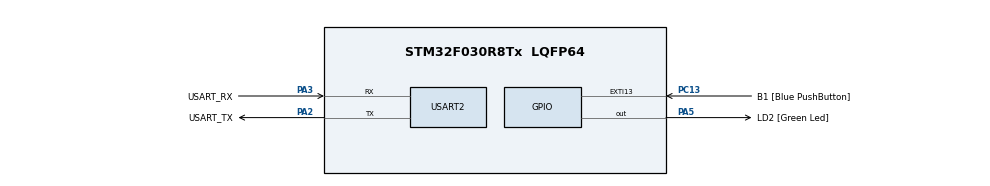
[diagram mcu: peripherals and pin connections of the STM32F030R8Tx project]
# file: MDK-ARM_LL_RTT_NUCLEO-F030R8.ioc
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Mcu.Family=STM32F0
Mcu.Name=STM32F030R8Tx
Mcu.Package=LQFP64
PA13.GPIO_Label=TMS
PA13.Mode=Serial_Wire
PA13.Signal=SYS_SWDIO
PA14.GPIO_Label=TCK
PA14.Mode=Serial_Wire
PA14.Signal=SYS_SWCLK
PA2.GPIO_Label=USART_TX
PA2.GPIO_Mode=GPIO_MODE_AF_PP
PA2.GPIO_PuPd=GPIO_NOPULL
PA2.GPIO_Speed=GPIO_SPEED_FREQ_LOW
PA2.Mode=Asynchronous
PA2.Signal=USART2_TX
PA3.GPIO_Label=USART_RX
PA3.GPIO_Mode=GPIO_MODE_AF_PP
PA3.GPIO_PuPd=GPIO_NOPULL
PA3.GPIO_Speed=GPIO_SPEED_FREQ_LOW
PA3.Mode=Asynchronous
PA3.Signal=USART2_RX
PA5.GPIO_Label=LD2 [Green Led]
PA5.GPIO_Mode=GPIO_MODE_OUTPUT_PP
PA5.GPIO_PuPd=GPIO_NOPULL
PA5.GPIO_Speed=GPIO_SPEED_FREQ_LOW
PA5.Signal=GPIO_Output
PC13.GPIO_Label=B1 [Blue PushButton]
PC13.GPIO_ModeDefaultEXTI=GPIO_MODE_IT_FALLING
PC13.Signal=GPXTI13
PC14-OSC32_IN.Mode=LSE-External-Oscillator
PC14-OSC32_IN.Signal=RCC_OSC32_IN
PC15-OSC32_OUT.Mode=LSE-External-Oscillator
PC15-OSC32_OUT.Signal=RCC_OSC32_OUT
PF0-OSC_IN.Mode=HSE-External-Clock-Source
PF0-OSC_IN.Signal=RCC_OSC_IN
PF1-OSC_OUT.Signal=RCC_OSC_OUT
ProjectManager.HeapSize=0x200
ProjectManager.StackSize=0x400
ProjectManager.TargetToolchain=MDK-ARM V5.27
RCC.AHBFreq_Value=48000000
RCC.APB1Freq_Value=48000000
RCC.APB1TimFreq_Value=48000000
RCC.HCLKFreq_Value=48000000
RCC.PLLMUL=RCC_PLL_MUL12
RCC.SYSCLKFreq_VALUE=48000000
RCC.SYSCLKSource=RCC_SYSCLKSOURCE_PLLCLK
USART2.VirtualMode-Asynchronous=VM_ASYNC
board=NUCLEO-F030R8

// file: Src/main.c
/* USER CODE BEGIN Header */
/**
  ******************************************************************************
  * @file           : main.c
  * @brief          : Main program body
  ******************************************************************************
  * @attention
  *
  * <h2><center>&copy; Copyright (c) 2020 STMicroelectronics.
  * All rights reserved.</center></h2>
  *
  * This software component is licensed by ST under BSD 3-Clause license,
  * the "License"; You may not use this file except in compliance with the
  * License. You may obtain a copy of the License at:
  *                        opensource.org/licenses/BSD-3-Clause
  *
  ******************************************************************************
  */
/* USER CODE END Header */

#include "main.h"

/* USER CODE BEGIN Includes */
#include "string.h"
#include "trice.h"
/* USER CODE END Includes */

void SystemClock_Config(void);
static void MX_GPIO_Init(void);
static void MX_USART2_UART_Init(void);

int main(void)
{

  /* MCU Configuration--------------------------------------------------------*/

  /* Reset of all peripherals, Initializes the Flash interface and the Systick. */

  LL_APB1_GRP2_EnableClock(LL_APB1_GRP2_PERIPH_SYSCFG);
  LL_APB1_GRP1_EnableClock(LL_APB1_GRP1_PERIPH_PWR);

  /* System interrupt init*/

  /* Configure the system clock */
  SystemClock_Config();

  /* USER CODE BEGIN SysInit */
    SysTick->CTRL |= SysTick_CTRL_TICKINT_Msk; // enable SysTick interrupt
  /* USER CODE END SysInit */

  /* Initialize all configured peripherals */
  MX_GPIO_Init();
  MX_USART2_UART_Init();

  /* Infinite loop */
  /* USER CODE BEGIN WHILE */
    TRICE_SYNC;
    TRICE16_1( Id(24444), "TIM:timing      message, SysTick is %6d\n", SYSTICKVAL16 );
    TRICE0( Id(48985), "att:MDK-ARM_LL_RTT_NUCLEO-F030R8\n" );
    TRICE16_1( Id(56190), "TIM:timing      message, SysTick is %6d\n", SYSTICKVAL16 );
    TRICE16_1( Id(18949), "TIM:timing      message, SysTick is %6d\n", SYSTICKVAL16 );
    TRICE16_1( Id(43095), "TIM:timing      message, SysTick is %6d\n", SYSTICKVAL16 );
    TRICE16_1( Id(59106), "TIM:timing      message, SysTick is %6d\n", SYSTICKVAL16 );
    SEGGER_RTT_GetAvailWriteSpace(0);
    char* s = "Hi5!\n";
    SEGGER_RTT_Write(0, s, strlen(s));
    while (1)
    {
      //////////////////////////////////////////////////
      // demo trices
      //
      static uint32_t ms_1 = 0;
      extern uint32_t ms;
      if( ms >= ms_1 + 1000 ){ // every sec
          TRICE_SYNC; // for re-synchronisation the running target
          static int index = 0;
          triceCheckSet(index++%20);
          TRICE32_1( Id( 5509), "time:ms = %d\n", ms );
          LL_GPIO_TogglePin(LD2_GPIO_Port, LD2_Pin);
          ms_1 = ms;
      }
      //
      //////////////////////////////////////////////////

      //////////////////////////////////////////////////
      // no background activity needed in code
      //////////////////////////////////////////////////

    /* USER CODE END WHILE */

  }
}

void SystemClock_Config(void)
{
  LL_FLASH_SetLatency(LL_FLASH_LATENCY_1);

  if(LL_FLASH_GetLatency() != LL_FLASH_LATENCY_1)
  {
  Error_Handler();
  }
  LL_RCC_HSI_Enable();

   /* Wait till HSI is ready */
  while(LL_RCC_HSI_IsReady() != 1)
  {

  }
  LL_RCC_HSI_SetCalibTrimming(16);
  LL_RCC_PLL_ConfigDomain_SYS(LL_RCC_PLLSOURCE_HSI_DIV_2, LL_RCC_PLL_MUL_12);
  LL_RCC_PLL_Enable();

   /* Wait till PLL is ready */
  while(LL_RCC_PLL_IsReady() != 1)
  {

  }
  LL_RCC_SetAHBPrescaler(LL_RCC_SYSCLK_DIV_1);
  LL_RCC_SetAPB1Prescaler(LL_RCC_APB1_DIV_1);
  LL_RCC_SetSysClkSource(LL_RCC_SYS_CLKSOURCE_PLL);

   /* Wait till System clock is ready */
  while(LL_RCC_GetSysClkSource() != LL_RCC_SYS_CLKSOURCE_STATUS_PLL)
  {

  }
  LL_Init1msTick(48000000);
  LL_SetSystemCoreClock(48000000);
}

static void MX_USART2_UART_Init(void)
{

  LL_USART_InitTypeDef USART_InitStruct = {0};

  LL_GPIO_InitTypeDef GPIO_InitStruct = {0};

  /* Peripheral clock enable */
  LL_APB1_GRP1_EnableClock(LL_APB1_GRP1_PERIPH_USART2);

  LL_AHB1_GRP1_EnableClock(LL_AHB1_GRP1_PERIPH_GPIOA);
  /**USART2 GPIO Configuration
  PA2   ------> USART2_TX
  PA3   ------> USART2_RX
  */
  GPIO_InitStruct.Pin = USART_TX_Pin;
  GPIO_InitStruct.Mode = LL_GPIO_MODE_ALTERNATE;
  GPIO_InitStruct.Speed = LL_GPIO_SPEED_FREQ_LOW;
  GPIO_InitStruct.OutputType = LL_GPIO_OUTPUT_PUSHPULL;
  GPIO_InitStruct.Pull = LL_GPIO_PULL_NO;
  GPIO_InitStruct.Alternate = LL_GPIO_AF_1;
  LL_GPIO_Init(USART_TX_GPIO_Port, &GPIO_InitStruct);

  GPIO_InitStruct.Pin = USART_RX_Pin;
  GPIO_InitStruct.Mode = LL_GPIO_MODE_ALTERNATE;
  GPIO_InitStruct.Speed = LL_GPIO_SPEED_FREQ_LOW;
  GPIO_InitStruct.OutputType = LL_GPIO_OUTPUT_PUSHPULL;
  GPIO_InitStruct.Pull = LL_GPIO_PULL_NO;
  GPIO_InitStruct.Alternate = LL_GPIO_AF_1;
  LL_GPIO_Init(USART_RX_GPIO_Port, &GPIO_InitStruct);

  USART_InitStruct.BaudRate = 38400;
  USART_InitStruct.DataWidth = LL_USART_DATAWIDTH_8B;
  USART_InitStruct.StopBits = LL_USART_STOPBITS_1;
  USART_InitStruct.Parity = LL_USART_PARITY_NONE;
  USART_InitStruct.TransferDirection = LL_USART_DIRECTION_TX_RX;
  USART_InitStruct.HardwareFlowControl = LL_USART_HWCONTROL_NONE;
  USART_InitStruct.OverSampling = LL_USART_OVERSAMPLING_16;
  LL_USART_Init(USART2, &USART_InitStruct);
  LL_USART_DisableIT_CTS(USART2);
  LL_USART_ConfigAsyncMode(USART2);
  LL_USART_Enable(USART2);

}

static void MX_GPIO_Init(void)
{
  LL_EXTI_InitTypeDef EXTI_InitStruct = {0};
  LL_GPIO_InitTypeDef GPIO_InitStruct = {0};

  /* GPIO Ports Clock Enable */
  LL_AHB1_GRP1_EnableClock(LL_AHB1_GRP1_PERIPH_GPIOC);
  LL_AHB1_GRP1_EnableClock(LL_AHB1_GRP1_PERIPH_GPIOF);
  LL_AHB1_GRP1_EnableClock(LL_AHB1_GRP1_PERIPH_GPIOA);

  /**/
  LL_GPIO_ResetOutputPin(LD2_GPIO_Port, LD2_Pin);

  /**/
  LL_SYSCFG_SetEXTISource(LL_SYSCFG_EXTI_PORTC, LL_SYSCFG_EXTI_LINE13);

  /**/
  LL_GPIO_SetPinPull(B1_GPIO_Port, B1_Pin, LL_GPIO_PULL_NO);

  /**/
  LL_GPIO_SetPinMode(B1_GPIO_Port, B1_Pin, LL_GPIO_MODE_INPUT);

  /**/
  EXTI_InitStruct.Line_0_31 = LL_EXTI_LINE_13;
  EXTI_InitStruct.LineCommand = ENABLE;
  EXTI_InitStruct.Mode = LL_EXTI_MODE_IT;
  EXTI_InitStruct.Trigger = LL_EXTI_TRIGGER_FALLING;
  LL_EXTI_Init(&EXTI_InitStruct);

  /**/
  GPIO_InitStruct.Pin = LD2_Pin;
  GPIO_InitStruct.Mode = LL_GPIO_MODE_OUTPUT;
  GPIO_InitStruct.Speed = LL_GPIO_SPEED_FREQ_LOW;
  GPIO_InitStruct.OutputType = LL_GPIO_OUTPUT_PUSHPULL;
  GPIO_InitStruct.Pull = LL_GPIO_PULL_NO;
  LL_GPIO_Init(LD2_GPIO_Port, &GPIO_InitStruct);

}

void Error_Handler(void)
{
}

/************************ (C) COPYRIGHT STMicroelectronics *****END OF FILE****/
